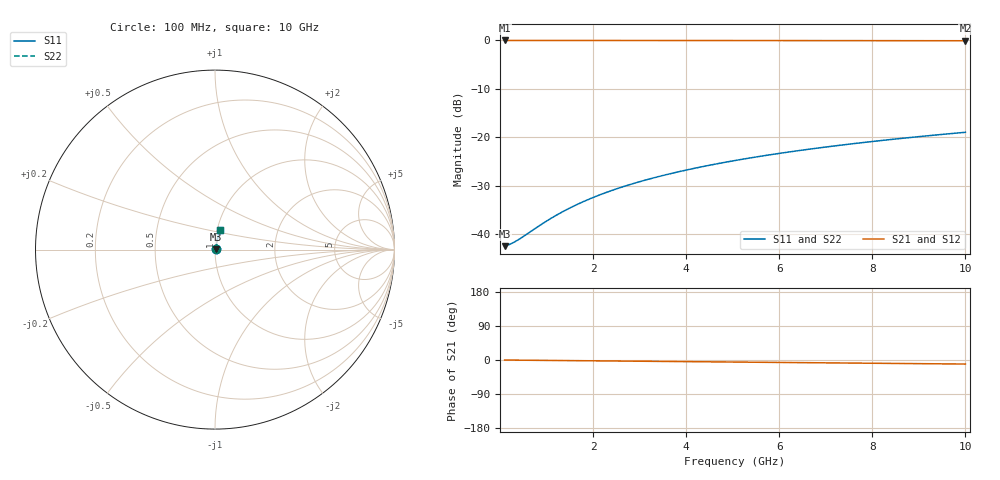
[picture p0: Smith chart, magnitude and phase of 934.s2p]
# Hz S RI R 50.00
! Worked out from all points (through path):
!   100 points, 100 MHz to 10 GHz, reference 50 ohm
!   highest |S21| = -0.07 dB at 100 MHz (marker M1); lowest = -0.1 dB at 10 GHz (marker M2)
!   group delay of S21, straight-line fit = 2.97 ps
!   lowest |S11| = -42.4 dB at 100 MHz (marker M3), VSWR 1.02, Z = 50.8 + j0.114 ohm
!   |S11| at or under -10 dB: start of sweep to end of sweep
!   |S22| runs from -42.4 to -19.0 dB; largest |S21 - S12| = 0
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1e8  0.00749 0.00112  0.9925 -0.00186  0.9925 -0.00186  0.00749 0.00112
2e8  0.00754 0.00224  0.9925 -0.00372  0.9925 -0.00372  0.00754 0.00224
3e8  0.00759 0.00336  0.9924 -0.00558  0.9924 -0.00558  0.00759 0.00336
4e8  0.00763 0.00448  0.9924 -0.00743  0.9924 -0.00743  0.00763 0.00448
9e8  0.00787 0.0101  0.9921 -0.0167  0.9921 -0.0167  0.00787 0.0101
1.2e9  0.00804 0.0134  0.9919 -0.0223  0.9919 -0.0223  0.00804 0.0134
1.5e9  0.00825 0.0168  0.9917 -0.0279  0.9917 -0.0279  0.00825 0.0168
1.8e9  0.00849 0.0201  0.9914 -0.0334  0.9914 -0.0334  0.00849 0.0201
2.1e9  0.00876 0.0235  0.9911 -0.039  0.9911 -0.039  0.00876 0.0235
2.5e9  0.00918 0.0279  0.9906 -0.0464  0.9906 -0.0464  0.00918 0.0279
2.9e9  0.00966 0.0324  0.9901 -0.0538  0.9901 -0.0538  0.00966 0.0324
3.4e9  0.0104 0.0379  0.9893 -0.063  0.9893 -0.063  0.0104 0.0379
3.8e9  0.011 0.0423  0.9886 -0.0704  0.9886 -0.0704  0.011 0.0423
4.2e9  0.0117 0.0467  0.9878 -0.0778  0.9878 -0.0778  0.0117 0.0467
4.6e9  0.0124 0.0511  0.9869 -0.0852  0.9869 -0.0852  0.0124 0.0511
5.1e9  0.0135 0.0566  0.9858 -0.0943  0.9858 -0.0943  0.0135 0.0566
5.9e9  0.0153 0.0653  0.9837 -0.109  0.9837 -0.109  0.0153 0.0653
6.7e9  0.0175 0.074  0.9812 -0.1236  0.9812 -0.1236  0.0175 0.074
7.5e9  0.0199 0.0826  0.9785 -0.1381  0.9785 -0.1381  0.0199 0.0826
8.4e9  0.0228 0.0921  0.9752 -0.1543  0.9752 -0.1543  0.0228 0.0921
9.2e9  0.0257 0.1005  0.9719 -0.1686  0.9719 -0.1686  0.0257 0.1005
1e10  0.0289 0.1087  0.9683 -0.1828  0.9683 -0.1828  0.0289 0.1087
